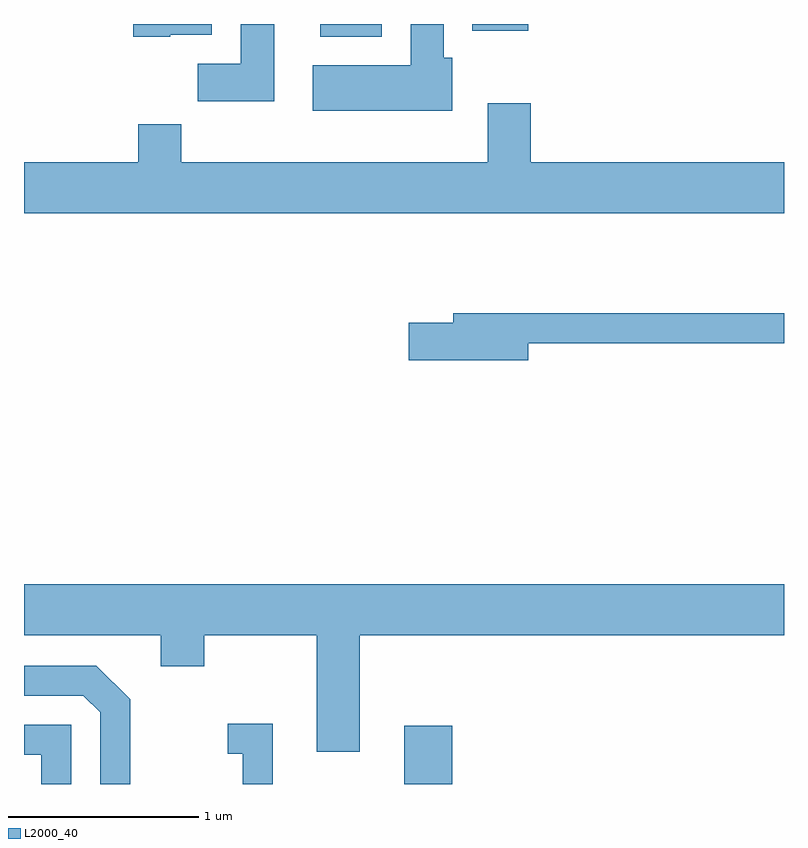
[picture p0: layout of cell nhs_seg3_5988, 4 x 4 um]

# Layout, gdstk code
import gdstk
lib = gdstk.Library(unit=1e-6, precision=1e-09)
def R(c, l, rs):  # rectangles x0, y0, x1, y1
    for r in rs: c.add(gdstk.rectangle(r[:2], r[2:], *l))
def P(c, l, *ps):  # polygons
    for p in ps: c.add(gdstk.Polygon(p, *l))
L2000_40 = (2000, 40)

nhs_seg3_5988 = lib.new_cell('nhs_seg3_5988')
R(nhs_seg3_5988, L2000_40, [(363.611,1131.892,363.864,1132.199), (363.171,1135.826,363.494,1135.892), (363.971,1135.856,364.264,1135.892)])
P(nhs_seg3_5988, L2000_40, [(362.929,1135.892),(362.751,1135.892),(362.751,1135.684),(362.526,1135.684),(362.526,1135.486),(362.929,1135.486)],
  [(362.38,1135.836),(362.599,1135.836),(362.599,1135.892),(362.186,1135.892),(362.186,1135.826),(362.38,1135.826)],
  [(363.864,1135.714),(363.819,1135.714),(363.819,1135.892),(363.646,1135.892),(363.646,1135.674),(363.131,1135.674),(363.131,1135.436),(363.864,1135.436)],
  [(365.611,1135.164),(364.279,1135.164),(364.279,1135.474),(364.051,1135.474),(364.051,1135.164),(362.439,1135.164),(362.439,1135.364),(362.211,1135.364),(362.211,1135.164),(361.611,1135.164),(361.611,1134.896),(365.611,1134.896)],
  [(364.264,1134.211),(365.611,1134.211),(365.611,1134.369),(363.871,1134.369),(363.871,1134.319),(363.636,1134.319),(363.636,1134.121),(364.264,1134.121)],
  [(363.379,1132.676),(365.611,1132.676),(365.611,1132.944),(361.611,1132.944),(361.611,1132.676),(362.331,1132.676),(362.331,1132.511),(362.559,1132.511),(362.559,1132.676),(363.151,1132.676),(363.151,1132.061),(363.379,1132.061)],
  [(362.169,1132.337),(361.992,1132.514),(361.611,1132.514),(361.611,1132.356),(361.924,1132.356),(362.011,1132.269),(362.011,1131.892),(362.169,1131.892)],
  [(362.919,1132.209),(362.683,1132.209),(362.683,1132.051),(362.761,1132.051),(362.761,1131.892),(362.919,1131.892)],
  [(361.859,1132.204),(361.611,1132.204),(361.611,1132.046),(361.701,1132.046),(361.701,1131.892),(361.859,1131.892)])

lib.write_gds('nhs_seg3_5988.gds')
